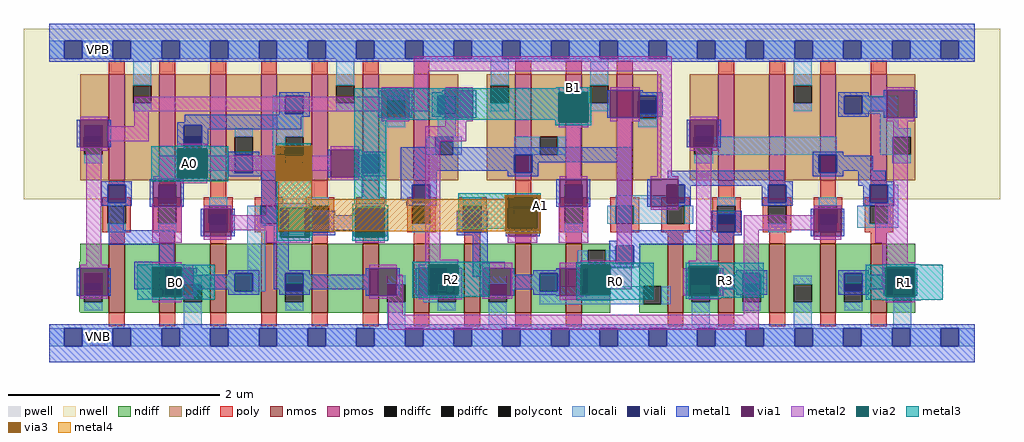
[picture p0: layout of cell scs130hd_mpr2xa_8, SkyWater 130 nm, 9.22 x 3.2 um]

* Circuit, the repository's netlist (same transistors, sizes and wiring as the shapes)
* NGSPICE file created from scs130hd_mpr2xa_8.ext - technology: sky130A

.subckt scs130hd_mpr2xa_8 VPB VNB R0 R1 R2 R3 B1 B0 A0 vgnd vpwr A1
X0 R0 a_56_48# vpwr VPB sky130_fd_pr__pfet_01v8 ad=0.27 pd=2.54 as=0.165 ps=1.33 w=1 l=0.15
X1 a_1294_296# a_676_198# R3 VPB sky130_fd_pr__pfet_01v8 ad=0.165 pd=1.33 as=0.27 ps=2.54 w=1 l=0.15
X2 vpwr a_56_48# a_1294_296# VPB sky130_fd_pr__pfet_01v8 ad=0.165 pd=1.33 as=0.165 ps=1.33 w=1 l=0.15
X3 a_1486_296# a_334_296# vpwr VPB sky130_fd_pr__pfet_01v8 ad=0.165 pd=1.33 as=0.165 ps=1.33 w=1 l=0.15
X4 R1 R3 a_1486_296# VPB sky130_fd_pr__pfet_01v8 ad=0.27 pd=2.54 as=0.165 ps=1.33 w=1 l=0.15
X5 R2 a_676_198# vgnd VNB sky130_fd_pr__nfet_01v8 ad=0.10725 pd=0.98 as=0.10725 ps=0.98 w=0.65 l=0.15
X6 vgnd a_56_48# R3 VNB sky130_fd_pr__nfet_01v8 ad=0.10725 pd=0.98 as=0.10725 ps=0.98 w=0.65 l=0.15
X7 vpwr B0 a_56_48# VPB sky130_fd_pr__pfet_01v8 ad=0.165 pd=1.33 as=0.27 ps=2.54 w=1 l=0.15
X8 a_334_296# A1 a_238_296# VPB sky130_fd_pr__pfet_01v8 ad=0.165 pd=1.33 as=0.165 ps=1.33 w=1 l=0.15
X9 a_238_296# B0 a_334_296# VPB sky130_fd_pr__pfet_01v8 ad=0.165 pd=1.33 as=0.165 ps=1.33 w=1 l=0.15
X10 a_676_198# B1 a_910_46# VNB sky130_fd_pr__nfet_01v8 ad=0.1755 pd=1.84 as=0.10725 ps=0.98 w=0.65 l=0.15
X11 R3 a_676_198# vgnd VNB sky130_fd_pr__nfet_01v8 ad=0.10725 pd=0.98 as=0.10725 ps=0.98 w=0.65 l=0.15
X12 a_238_296# A0 vpwr VPB sky130_fd_pr__pfet_01v8 ad=0.165 pd=1.33 as=0.165 ps=1.33 w=1 l=0.15
X13 a_142_46# B0 a_56_48# VNB sky130_fd_pr__nfet_01v8 ad=0.10725 pd=0.98 as=0.1802 ps=1.86 w=0.65 l=0.15
X14 vgnd a_56_48# R0 VNB sky130_fd_pr__nfet_01v8 ad=0.10725 pd=0.98 as=0.1755 ps=1.84 w=0.65 l=0.15
X15 vgnd R3 R1 VNB sky130_fd_pr__nfet_01v8 ad=0.1755 pd=1.84 as=0.10725 ps=0.98 w=0.65 l=0.15
X16 a_334_296# B0 a_334_46# VNB sky130_fd_pr__nfet_01v8 ad=0.10725 pd=0.98 as=0.10725 ps=0.98 w=0.65 l=0.15
X17 R1 a_334_296# vgnd VNB sky130_fd_pr__nfet_01v8 ad=0.10725 pd=0.98 as=0.10725 ps=0.98 w=0.65 l=0.15
X18 a_334_46# A1 vgnd VNB sky130_fd_pr__nfet_01v8 ad=0.10725 pd=0.98 as=0.10725 ps=0.98 w=0.65 l=0.15
X19 vgnd A0 a_142_46# VNB sky130_fd_pr__nfet_01v8 ad=0.10725 pd=0.98 as=0.10725 ps=0.98 w=0.65 l=0.15
X20 vgnd A0 a_526_46# VNB sky130_fd_pr__nfet_01v8 ad=0.10725 pd=0.98 as=0.10725 ps=0.98 w=0.65 l=0.15
X21 a_526_46# B1 a_334_296# VNB sky130_fd_pr__nfet_01v8 ad=0.10725 pd=0.98 as=0.10725 ps=0.98 w=0.65 l=0.15
X22 a_910_46# A1 vgnd VNB sky130_fd_pr__nfet_01v8 ad=0.10725 pd=0.98 as=0.10725 ps=0.98 w=0.65 l=0.15
X23 a_56_48# A0 vpwr VPB sky130_fd_pr__pfet_01v8 ad=0.165 pd=1.33 as=0.165 ps=1.33 w=1 l=0.15
X24 a_676_198# A1 vpwr VPB sky130_fd_pr__pfet_01v8 ad=0.165 pd=1.33 as=0.27 ps=2.54 w=1 l=0.15
X25 vgnd R0 R2 VNB sky130_fd_pr__nfet_01v8 ad=0.10725 pd=0.98 as=0.10725 ps=0.98 w=0.65 l=0.15
X26 vpwr B1 a_238_296# VPB sky130_fd_pr__pfet_01v8 ad=0.165 pd=1.33 as=0.165 ps=1.33 w=1 l=0.15
X27 R2 a_676_198# a_56_48# VPB sky130_fd_pr__pfet_01v8 ad=0.27 pd=2.54 as=0.165 ps=1.33 w=1 l=0.15
X28 vpwr B1 a_676_198# VPB sky130_fd_pr__pfet_01v8 ad=0.165 pd=1.33 as=0.165 ps=1.33 w=1 l=0.15
.ends

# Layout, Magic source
magic
tech sky130A
magscale 1 2
<< nwell >>
rect -48 260 1796 582
<< pwell >>
rect 76 -16 110 16
<< nmos >>
rect 112 46 142 176
rect 208 46 238 176
rect 304 46 334 176
rect 400 46 430 176
rect 496 46 526 176
rect 592 46 622 176
rect 688 46 718 176
rect 784 46 814 176
rect 880 46 910 176
rect 976 46 1006 176
rect 1168 46 1198 176
rect 1264 46 1294 176
rect 1360 46 1390 176
rect 1456 46 1486 176
rect 1552 46 1582 176
<< pmos >>
rect 112 296 142 496
rect 208 296 238 496
rect 304 296 334 496
rect 400 296 430 496
rect 496 296 526 496
rect 592 296 622 496
rect 688 296 718 496
rect 880 296 910 496
rect 976 296 1006 496
rect 1072 296 1102 496
rect 1264 296 1294 496
rect 1360 296 1390 496
rect 1456 296 1486 496
rect 1552 296 1582 496
<< ndiff >>
rect 58 142 112 176
rect 56 100 112 142
rect 56 66 66 100
rect 100 66 112 100
rect 56 48 112 66
rect 58 46 112 48
rect 142 46 208 176
rect 238 100 304 176
rect 238 66 254 100
rect 288 66 304 100
rect 238 46 304 66
rect 334 46 400 176
rect 430 100 496 176
rect 430 66 446 100
rect 480 66 496 100
rect 430 46 496 66
rect 526 46 592 176
rect 622 100 688 176
rect 622 66 638 100
rect 672 66 688 100
rect 622 46 688 66
rect 718 100 784 176
rect 718 66 734 100
rect 768 66 784 100
rect 718 46 784 66
rect 814 100 880 176
rect 814 66 830 100
rect 864 66 880 100
rect 814 46 880 66
rect 910 46 976 176
rect 1006 164 1060 176
rect 1006 130 1017 164
rect 1051 130 1060 164
rect 1006 46 1060 130
rect 1114 96 1168 176
rect 1114 62 1122 96
rect 1156 62 1168 96
rect 1114 46 1168 62
rect 1198 100 1264 176
rect 1198 66 1214 100
rect 1248 66 1264 100
rect 1198 46 1264 66
rect 1294 100 1360 176
rect 1294 66 1310 100
rect 1344 66 1360 100
rect 1294 46 1360 66
rect 1390 100 1456 176
rect 1390 66 1406 100
rect 1440 66 1456 100
rect 1390 46 1456 66
rect 1486 100 1552 176
rect 1486 66 1502 100
rect 1536 66 1552 100
rect 1486 46 1552 66
rect 1582 100 1636 176
rect 1582 66 1594 100
rect 1628 66 1636 100
rect 1582 46 1636 66
<< pdiff >>
rect 58 378 112 496
rect 58 344 66 378
rect 100 344 112 378
rect 58 296 112 344
rect 142 476 208 496
rect 142 442 158 476
rect 192 442 208 476
rect 142 296 208 442
rect 238 378 304 496
rect 238 344 254 378
rect 288 344 304 378
rect 238 296 304 344
rect 334 378 400 496
rect 334 344 350 378
rect 384 344 400 378
rect 334 296 400 344
rect 430 378 496 496
rect 430 344 446 378
rect 480 344 496 378
rect 430 296 496 344
rect 526 476 592 496
rect 526 442 542 476
rect 576 442 592 476
rect 526 296 592 442
rect 622 446 688 496
rect 622 412 638 446
rect 672 412 688 446
rect 622 296 688 412
rect 718 378 772 496
rect 718 344 729 378
rect 763 344 772 378
rect 718 296 772 344
rect 826 476 880 496
rect 826 442 834 476
rect 868 442 880 476
rect 826 296 880 442
rect 910 378 976 496
rect 910 344 926 378
rect 960 344 976 378
rect 910 296 976 344
rect 1006 476 1072 496
rect 1006 442 1022 476
rect 1056 442 1072 476
rect 1006 296 1072 442
rect 1102 446 1156 496
rect 1102 412 1113 446
rect 1147 412 1156 446
rect 1102 296 1156 412
rect 1210 378 1264 496
rect 1210 344 1218 378
rect 1252 344 1264 378
rect 1210 296 1264 344
rect 1294 296 1360 496
rect 1390 476 1456 496
rect 1390 442 1406 476
rect 1440 442 1456 476
rect 1390 296 1456 442
rect 1486 296 1552 496
rect 1582 378 1636 496
rect 1582 344 1593 378
rect 1627 344 1636 378
rect 1582 296 1636 344
<< ndiffc >>
rect 66 66 100 100
rect 254 66 288 100
rect 446 66 480 100
rect 638 66 672 100
rect 734 66 768 100
rect 830 66 864 100
rect 1017 130 1051 164
rect 1122 62 1156 96
rect 1214 66 1248 100
rect 1310 66 1344 100
rect 1406 66 1440 100
rect 1502 66 1536 100
rect 1594 66 1628 100
<< pdiffc >>
rect 66 344 100 378
rect 158 442 192 476
rect 254 344 288 378
rect 350 344 384 378
rect 446 344 480 378
rect 542 442 576 476
rect 638 412 672 446
rect 729 344 763 378
rect 834 442 868 476
rect 926 344 960 378
rect 1022 442 1056 476
rect 1113 412 1147 446
rect 1218 344 1252 378
rect 1406 442 1440 476
rect 1593 344 1627 378
<< poly >>
rect 112 496 142 522
rect 208 496 238 522
rect 304 496 334 522
rect 400 496 430 522
rect 496 496 526 522
rect 592 496 622 522
rect 688 496 718 522
rect 880 496 910 522
rect 976 496 1006 522
rect 1072 496 1102 522
rect 1264 496 1294 522
rect 1360 496 1390 522
rect 1456 496 1486 522
rect 1552 496 1582 522
rect 112 264 142 296
rect 208 264 238 296
rect 304 264 334 296
rect 400 264 430 296
rect 496 264 526 296
rect 592 264 622 296
rect 688 264 718 296
rect 880 264 910 296
rect 976 264 1006 296
rect 1072 264 1102 296
rect 1264 264 1294 296
rect 1360 264 1390 296
rect 1456 264 1486 296
rect 1552 264 1582 296
rect 100 248 154 264
rect 100 214 110 248
rect 144 214 154 248
rect 100 198 154 214
rect 196 248 250 264
rect 196 214 206 248
rect 240 214 250 248
rect 196 198 250 214
rect 292 248 346 264
rect 292 214 302 248
rect 336 214 346 248
rect 292 198 346 214
rect 388 248 442 264
rect 388 214 398 248
rect 432 214 442 248
rect 388 198 442 214
rect 484 248 538 264
rect 484 214 494 248
rect 528 214 538 248
rect 484 198 538 214
rect 580 248 634 264
rect 580 214 590 248
rect 624 214 634 248
rect 580 198 634 214
rect 676 248 730 264
rect 676 214 686 248
rect 720 214 730 248
rect 676 198 730 214
rect 772 248 826 264
rect 772 214 782 248
rect 816 214 826 248
rect 772 198 826 214
rect 868 248 922 264
rect 868 214 878 248
rect 912 214 922 248
rect 868 198 922 214
rect 964 248 1018 264
rect 964 214 974 248
rect 1008 214 1018 248
rect 964 198 1018 214
rect 1060 248 1114 264
rect 1060 214 1070 248
rect 1104 214 1114 248
rect 1060 198 1114 214
rect 1156 248 1210 264
rect 1156 214 1166 248
rect 1200 214 1210 248
rect 1156 198 1210 214
rect 1252 248 1306 264
rect 1252 214 1262 248
rect 1296 214 1306 248
rect 1252 198 1306 214
rect 1348 248 1402 264
rect 1348 214 1358 248
rect 1392 214 1402 248
rect 1348 198 1402 214
rect 1444 248 1498 264
rect 1444 214 1454 248
rect 1488 214 1498 248
rect 1444 198 1498 214
rect 1540 248 1594 264
rect 1540 214 1550 248
rect 1584 214 1594 248
rect 1540 198 1594 214
rect 112 176 142 198
rect 208 176 238 198
rect 304 176 334 198
rect 400 176 430 198
rect 496 176 526 198
rect 592 176 622 198
rect 688 176 718 198
rect 784 176 814 198
rect 880 176 910 198
rect 976 176 1006 198
rect 1168 176 1198 198
rect 1264 176 1294 198
rect 1360 176 1390 198
rect 1456 176 1486 198
rect 1552 176 1582 198
rect 112 20 142 46
rect 208 20 238 46
rect 304 20 334 46
rect 400 20 430 46
rect 496 20 526 46
rect 592 20 622 46
rect 688 20 718 46
rect 784 20 814 46
rect 880 20 910 46
rect 976 20 1006 46
rect 1168 20 1198 46
rect 1264 20 1294 46
rect 1360 20 1390 46
rect 1456 20 1486 46
rect 1552 20 1582 46
<< polycont >>
rect 110 214 144 248
rect 206 214 240 248
rect 302 214 336 248
rect 398 214 432 248
rect 494 214 528 248
rect 590 214 624 248
rect 686 214 720 248
rect 782 214 816 248
rect 878 214 912 248
rect 974 214 1008 248
rect 1070 214 1104 248
rect 1166 214 1200 248
rect 1262 214 1296 248
rect 1358 214 1392 248
rect 1454 214 1488 248
rect 1550 214 1584 248
<< locali >>
rect 0 526 28 560
rect 62 526 120 560
rect 154 526 212 560
rect 246 526 304 560
rect 338 526 396 560
rect 430 526 488 560
rect 522 526 580 560
rect 614 526 672 560
rect 706 526 764 560
rect 798 526 856 560
rect 890 526 948 560
rect 982 526 1040 560
rect 1074 526 1132 560
rect 1166 526 1224 560
rect 1258 526 1316 560
rect 1350 526 1408 560
rect 1442 526 1500 560
rect 1534 526 1592 560
rect 1626 526 1684 560
rect 1718 526 1748 560
rect 158 476 192 526
rect 542 476 576 526
rect 158 426 192 442
rect 422 422 446 456
rect 834 476 868 526
rect 542 426 576 442
rect 638 456 672 462
rect 66 328 100 344
rect 254 328 288 344
rect 350 378 384 394
rect 422 378 480 422
rect 638 396 672 412
rect 834 426 868 442
rect 1022 476 1056 526
rect 1406 476 1440 526
rect 1022 426 1056 442
rect 1113 456 1148 462
rect 734 378 768 422
rect 1147 412 1148 456
rect 1406 426 1440 442
rect 1536 422 1604 456
rect 1113 396 1148 412
rect 1218 378 1220 400
rect 1570 394 1604 422
rect 1570 378 1627 394
rect 422 344 446 378
rect 712 344 729 378
rect 763 344 779 378
rect 878 344 926 378
rect 960 344 976 378
rect 1254 366 1488 378
rect 1252 344 1488 366
rect 1570 344 1593 378
rect 446 328 480 344
rect 1218 328 1254 344
rect 1592 328 1627 344
rect 110 248 144 254
rect 110 198 144 214
rect 206 248 240 254
rect 206 198 240 214
rect 302 248 336 264
rect 494 248 528 264
rect 374 214 398 248
rect 432 214 448 248
rect 374 120 408 214
rect 590 248 624 310
rect 590 198 624 214
rect 686 248 720 254
rect 686 198 720 214
rect 782 248 816 264
rect 878 248 912 264
rect 974 248 1008 254
rect 1070 254 1166 268
rect 1070 248 1200 254
rect 1262 248 1296 264
rect 1054 214 1070 248
rect 1104 214 1166 248
rect 1200 214 1216 248
rect 974 198 1008 214
rect 1358 248 1392 254
rect 1358 198 1392 214
rect 1454 248 1488 264
rect 1584 254 1604 288
rect 1550 248 1604 254
rect 1526 214 1550 248
rect 1584 214 1604 248
rect 1526 206 1604 214
rect 998 130 1017 164
rect 1051 138 1070 164
rect 1051 130 1104 138
rect 66 50 100 66
rect 254 100 288 116
rect 384 86 408 120
rect 254 16 288 66
rect 446 50 480 66
rect 638 100 672 116
rect 706 86 726 110
rect 760 100 768 116
rect 706 66 734 86
rect 638 16 672 66
rect 734 50 768 66
rect 830 100 864 116
rect 830 16 864 66
rect 1214 100 1248 116
rect 960 86 1122 96
rect 926 62 1122 86
rect 1156 62 1174 96
rect 1214 16 1248 66
rect 1310 50 1344 66
rect 1406 100 1440 116
rect 1406 16 1440 66
rect 1502 50 1536 66
rect 1594 100 1628 116
rect 1594 16 1628 66
rect 0 -18 28 16
rect 62 -18 120 16
rect 154 -18 212 16
rect 246 -18 304 16
rect 338 -18 396 16
rect 430 -18 488 16
rect 522 -18 580 16
rect 614 -18 672 16
rect 706 -18 764 16
rect 798 -18 856 16
rect 890 -18 948 16
rect 982 -18 1040 16
rect 1074 -18 1132 16
rect 1166 -18 1224 16
rect 1258 -18 1316 16
rect 1350 -18 1408 16
rect 1442 -18 1500 16
rect 1534 -18 1592 16
rect 1626 -18 1684 16
rect 1718 -18 1748 16
<< viali >>
rect 28 526 62 560
rect 120 526 154 560
rect 212 526 246 560
rect 304 526 338 560
rect 396 526 430 560
rect 488 526 522 560
rect 580 526 614 560
rect 672 526 706 560
rect 764 526 798 560
rect 856 526 890 560
rect 948 526 982 560
rect 1040 526 1074 560
rect 1132 526 1166 560
rect 1224 526 1258 560
rect 1316 526 1350 560
rect 1408 526 1442 560
rect 1500 526 1534 560
rect 1592 526 1626 560
rect 1684 526 1718 560
rect 446 422 480 456
rect 638 446 672 456
rect 66 378 100 400
rect 66 366 100 378
rect 254 378 288 400
rect 254 366 288 378
rect 638 422 672 446
rect 734 422 768 456
rect 1113 446 1147 456
rect 1113 422 1147 446
rect 1502 422 1536 456
rect 1220 378 1254 400
rect 1220 366 1252 378
rect 1252 366 1254 378
rect 350 310 384 344
rect 590 310 624 344
rect 878 310 912 344
rect 1454 310 1488 344
rect 110 254 144 288
rect 206 254 240 288
rect 302 214 336 232
rect 302 198 336 214
rect 494 214 528 232
rect 494 198 528 214
rect 686 254 720 288
rect 782 214 816 232
rect 782 198 816 214
rect 878 214 912 232
rect 878 198 912 214
rect 974 254 1008 288
rect 1166 254 1200 288
rect 1262 214 1296 232
rect 1262 198 1296 214
rect 1358 254 1392 288
rect 1550 254 1584 288
rect 1454 214 1488 232
rect 1454 198 1488 214
rect 1070 138 1104 172
rect 66 100 100 120
rect 66 86 100 100
rect 350 86 384 120
rect 446 100 480 120
rect 446 86 480 100
rect 726 100 760 120
rect 726 86 734 100
rect 734 86 760 100
rect 926 86 960 120
rect 1310 100 1344 120
rect 1310 86 1344 100
rect 1502 100 1536 120
rect 1502 86 1536 100
rect 28 -18 62 16
rect 120 -18 154 16
rect 212 -18 246 16
rect 304 -18 338 16
rect 396 -18 430 16
rect 488 -18 522 16
rect 580 -18 614 16
rect 672 -18 706 16
rect 764 -18 798 16
rect 856 -18 890 16
rect 948 -18 982 16
rect 1040 -18 1074 16
rect 1132 -18 1166 16
rect 1224 -18 1258 16
rect 1316 -18 1350 16
rect 1408 -18 1442 16
rect 1500 -18 1534 16
rect 1592 -18 1626 16
rect 1684 -18 1718 16
<< metal1 >>
rect 0 560 1748 592
rect 0 526 28 560
rect 62 526 120 560
rect 154 526 212 560
rect 246 526 304 560
rect 338 526 396 560
rect 430 526 488 560
rect 522 526 580 560
rect 614 526 672 560
rect 706 526 764 560
rect 798 526 856 560
rect 890 526 948 560
rect 982 526 1040 560
rect 1074 526 1132 560
rect 1166 526 1224 560
rect 1258 526 1316 560
rect 1350 526 1408 560
rect 1442 526 1500 560
rect 1534 526 1592 560
rect 1626 526 1684 560
rect 1718 526 1748 560
rect 0 520 1748 526
rect 434 456 492 462
rect 434 422 446 456
rect 480 422 492 456
rect 434 420 492 422
rect 256 416 492 420
rect 52 358 58 410
rect 110 358 116 410
rect 256 406 476 416
rect 622 414 628 466
rect 680 414 686 466
rect 742 462 748 466
rect 722 456 748 462
rect 722 422 734 456
rect 722 416 748 422
rect 742 414 748 416
rect 800 414 806 466
rect 1054 414 1060 466
rect 1115 462 1121 466
rect 1115 456 1159 462
rect 1147 422 1159 456
rect 1115 416 1159 422
rect 1490 456 1548 462
rect 1490 422 1502 456
rect 1536 454 1548 456
rect 1576 454 1582 466
rect 1536 426 1582 454
rect 1536 422 1548 426
rect 1490 416 1548 422
rect 1115 414 1121 416
rect 1576 414 1582 426
rect 1634 414 1640 466
rect 242 400 476 406
rect 242 366 254 400
rect 288 392 476 400
rect 288 366 300 392
rect 242 360 300 366
rect 728 358 762 378
rect 1204 358 1210 410
rect 1262 358 1268 410
rect 338 344 396 350
rect 338 310 350 344
rect 384 342 396 344
rect 384 310 428 342
rect 338 304 428 310
rect 98 288 156 294
rect 98 254 110 288
rect 144 254 156 288
rect 98 248 156 254
rect 112 202 140 248
rect 190 246 196 298
rect 248 246 254 298
rect 112 174 236 202
rect 286 190 292 242
rect 344 190 350 242
rect 400 238 428 304
rect 526 302 532 354
rect 584 350 590 354
rect 584 344 636 350
rect 584 310 590 344
rect 624 310 636 344
rect 584 304 636 310
rect 664 344 1100 358
rect 664 314 878 344
rect 584 302 590 304
rect 664 288 732 314
rect 866 310 878 314
rect 912 330 1100 344
rect 912 310 924 330
rect 866 304 924 310
rect 664 258 686 288
rect 674 254 686 258
rect 720 254 732 288
rect 674 248 732 254
rect 958 246 964 298
rect 1016 246 1022 298
rect 400 210 452 238
rect 208 142 236 174
rect 160 130 236 142
rect 52 78 58 130
rect 110 78 116 130
rect 160 90 220 130
rect 214 78 220 90
rect 272 118 278 130
rect 424 126 452 210
rect 482 232 540 238
rect 482 198 494 232
rect 528 230 540 232
rect 574 230 580 242
rect 528 202 580 230
rect 528 198 540 202
rect 482 192 540 198
rect 574 190 580 202
rect 632 190 638 242
rect 770 232 828 238
rect 770 198 782 232
rect 816 198 828 232
rect 770 192 828 198
rect 800 142 828 192
rect 862 190 868 242
rect 920 190 926 242
rect 1072 202 1100 330
rect 1442 344 1500 350
rect 1168 298 1388 314
rect 1442 310 1454 344
rect 1488 342 1500 344
rect 1488 314 1556 342
rect 1488 310 1500 314
rect 1442 304 1500 310
rect 1130 246 1136 298
rect 1188 294 1388 298
rect 1528 294 1580 314
rect 1188 288 1404 294
rect 1200 286 1358 288
rect 1200 254 1212 286
rect 1188 248 1212 254
rect 1346 254 1358 286
rect 1392 254 1404 288
rect 1528 288 1596 294
rect 1528 286 1550 288
rect 1346 248 1404 254
rect 1538 254 1550 286
rect 1584 254 1596 288
rect 1538 248 1596 254
rect 1188 246 1194 248
rect 1250 232 1308 238
rect 1250 202 1262 232
rect 1072 198 1262 202
rect 1296 198 1308 232
rect 1072 192 1308 198
rect 1072 182 1292 192
rect 1438 190 1444 242
rect 1496 190 1502 242
rect 1058 174 1292 182
rect 1058 172 1116 174
rect 800 130 860 142
rect 1058 138 1070 172
rect 1104 138 1116 172
rect 1058 132 1116 138
rect 338 120 396 126
rect 338 118 350 120
rect 272 90 350 118
rect 272 78 278 90
rect 338 86 350 90
rect 384 86 396 120
rect 424 120 492 126
rect 424 90 446 120
rect 338 80 396 86
rect 434 86 446 90
rect 480 118 492 120
rect 598 118 604 130
rect 480 90 604 118
rect 480 86 492 90
rect 434 80 492 86
rect 598 78 604 90
rect 656 78 662 130
rect 692 78 698 130
rect 750 120 772 130
rect 760 86 772 120
rect 800 114 820 130
rect 750 78 772 86
rect 814 78 820 114
rect 872 118 878 130
rect 958 126 964 130
rect 914 120 964 126
rect 914 118 926 120
rect 872 90 926 118
rect 872 78 878 90
rect 914 86 926 90
rect 960 86 964 120
rect 914 80 964 86
rect 958 78 964 80
rect 1016 78 1022 130
rect 1204 78 1210 130
rect 1262 118 1268 130
rect 1298 120 1356 126
rect 1298 118 1310 120
rect 1262 90 1310 118
rect 1262 78 1268 90
rect 1298 86 1310 90
rect 1344 86 1356 120
rect 1298 80 1356 86
rect 1490 120 1548 126
rect 1490 86 1502 120
rect 1536 118 1548 120
rect 1576 118 1582 130
rect 1536 90 1582 118
rect 1536 86 1548 90
rect 1490 80 1548 86
rect 1576 78 1582 90
rect 1634 78 1640 130
rect 0 16 1748 24
rect 0 -18 28 16
rect 62 -18 120 16
rect 154 -18 212 16
rect 246 -18 304 16
rect 338 -18 396 16
rect 430 -18 488 16
rect 522 -18 580 16
rect 614 -18 672 16
rect 706 -18 764 16
rect 798 -18 856 16
rect 890 -18 948 16
rect 982 -18 1040 16
rect 1074 -18 1132 16
rect 1166 -18 1224 16
rect 1258 -18 1316 16
rect 1350 -18 1408 16
rect 1442 -18 1500 16
rect 1534 -18 1592 16
rect 1626 -18 1684 16
rect 1718 -18 1748 16
rect 0 -48 1748 -18
<< via1 >>
rect 58 400 110 410
rect 58 366 66 400
rect 66 366 100 400
rect 100 366 110 400
rect 58 358 110 366
rect 628 456 680 466
rect 628 422 638 456
rect 638 422 672 456
rect 672 422 680 456
rect 628 414 680 422
rect 748 456 800 466
rect 748 422 768 456
rect 768 422 800 456
rect 748 414 800 422
rect 1060 456 1115 466
rect 1060 422 1113 456
rect 1113 422 1115 456
rect 1060 414 1115 422
rect 1582 414 1634 466
rect 1210 400 1262 410
rect 1210 366 1220 400
rect 1220 366 1254 400
rect 1254 366 1262 400
rect 1210 358 1262 366
rect 196 288 248 298
rect 196 254 206 288
rect 206 254 240 288
rect 240 254 248 288
rect 196 246 248 254
rect 292 232 344 242
rect 292 198 302 232
rect 302 198 336 232
rect 336 198 344 232
rect 292 190 344 198
rect 532 302 584 354
rect 964 288 1016 298
rect 964 254 974 288
rect 974 254 1008 288
rect 1008 254 1016 288
rect 964 246 1016 254
rect 58 120 110 130
rect 58 86 66 120
rect 66 86 100 120
rect 100 86 110 120
rect 58 78 110 86
rect 220 78 272 130
rect 580 190 632 242
rect 868 232 920 242
rect 868 198 878 232
rect 878 198 912 232
rect 912 198 920 232
rect 868 190 920 198
rect 1136 288 1188 298
rect 1136 254 1166 288
rect 1166 254 1188 288
rect 1136 246 1188 254
rect 1444 232 1496 242
rect 1444 198 1454 232
rect 1454 198 1488 232
rect 1488 198 1496 232
rect 1444 190 1496 198
rect 604 78 656 130
rect 698 120 750 130
rect 698 86 726 120
rect 726 86 750 120
rect 698 78 750 86
rect 820 78 872 130
rect 964 78 1016 130
rect 1210 78 1262 130
rect 1582 78 1634 130
<< metal2 >>
rect 688 502 1176 530
rect 688 472 716 502
rect 628 466 716 472
rect 160 426 628 454
rect 58 410 110 416
rect 160 398 188 426
rect 680 426 716 466
rect 748 466 800 472
rect 628 408 680 414
rect 748 408 800 414
rect 962 462 1018 472
rect 748 398 788 408
rect 110 370 188 398
rect 710 370 788 398
rect 1060 466 1115 472
rect 1060 408 1115 414
rect 962 396 1018 406
rect 58 352 110 358
rect 242 356 298 365
rect 70 136 98 352
rect 208 304 242 342
rect 196 300 242 304
rect 532 354 584 360
rect 298 314 532 342
rect 196 298 298 300
rect 194 246 196 252
rect 248 290 298 298
rect 532 296 584 302
rect 431 252 492 253
rect 248 246 250 252
rect 194 178 250 246
rect 292 242 344 248
rect 410 244 492 252
rect 410 230 436 244
rect 344 202 436 230
rect 292 184 344 190
rect 410 188 436 202
rect 410 178 492 188
rect 578 244 634 253
rect 578 178 634 188
rect 710 146 738 370
rect 976 304 1004 396
rect 964 298 1016 304
rect 866 262 922 272
rect 866 190 868 206
rect 920 190 922 206
rect 866 178 922 190
rect 962 246 964 252
rect 1016 246 1018 252
rect 962 178 1018 246
rect 194 136 250 141
rect 710 136 772 146
rect 1072 144 1100 408
rect 1148 304 1176 502
rect 1582 466 1634 472
rect 1210 410 1262 416
rect 1582 408 1634 414
rect 1210 352 1262 358
rect 1136 298 1188 304
rect 1136 240 1188 246
rect 1222 144 1250 352
rect 1594 252 1622 408
rect 1444 242 1496 248
rect 1312 202 1444 230
rect 1004 140 1100 144
rect 58 130 110 136
rect 58 72 110 78
rect 194 132 272 136
rect 250 130 272 132
rect 250 76 272 78
rect 194 72 272 76
rect 604 130 656 136
rect 698 130 716 136
rect 818 130 874 140
rect 656 78 668 118
rect 604 72 668 78
rect 194 66 250 72
rect 640 42 668 72
rect 772 80 780 130
rect 750 78 780 80
rect 698 71 780 78
rect 818 78 820 130
rect 872 78 874 130
rect 818 72 874 78
rect 964 136 1100 140
rect 964 130 1004 136
rect 1060 90 1100 136
rect 1208 134 1264 144
rect 1016 78 1060 80
rect 1198 78 1208 130
rect 1264 78 1273 130
rect 964 70 1060 78
rect 1208 70 1264 78
rect 1312 42 1340 202
rect 1444 184 1496 190
rect 1560 178 1622 252
rect 1574 141 1622 178
rect 1574 132 1636 141
rect 1574 90 1580 132
rect 1580 66 1636 76
rect 640 14 1340 42
<< via2 >>
rect 962 406 1018 462
rect 242 300 298 356
rect 436 188 492 244
rect 578 242 634 244
rect 578 190 580 242
rect 580 190 632 242
rect 632 190 634 242
rect 578 188 634 190
rect 866 242 922 262
rect 866 206 868 242
rect 868 206 920 242
rect 920 206 922 242
rect 194 130 250 132
rect 194 78 220 130
rect 220 78 250 130
rect 194 76 250 78
rect 716 130 772 136
rect 716 80 750 130
rect 750 80 772 130
rect 1004 130 1060 136
rect 1004 80 1016 130
rect 1016 80 1060 130
rect 1208 130 1264 134
rect 1208 78 1210 130
rect 1210 78 1262 130
rect 1262 78 1264 130
rect 1580 130 1636 132
rect 1580 78 1582 130
rect 1582 78 1634 130
rect 1634 78 1636 130
rect 1580 76 1636 78
<< metal3 >>
rect 958 470 1024 472
rect 576 462 1024 470
rect 576 410 962 462
rect 238 360 301 361
rect 430 360 494 366
rect 192 356 338 360
rect 192 300 242 356
rect 298 300 338 356
rect 192 294 338 300
rect 430 290 494 296
rect 430 252 496 290
rect 576 252 636 410
rect 956 406 962 410
rect 1018 406 1024 462
rect 956 400 1024 406
rect 430 244 497 252
rect 430 188 436 244
rect 492 188 497 244
rect 430 182 497 188
rect 572 249 636 252
rect 772 266 928 272
rect 572 244 640 249
rect 572 188 578 244
rect 634 188 640 244
rect 772 204 862 266
rect 860 202 862 204
rect 926 202 928 266
rect 862 196 928 202
rect 572 182 640 188
rect 186 136 257 137
rect 686 136 832 142
rect 166 132 312 136
rect 166 76 194 132
rect 250 76 312 132
rect 166 70 312 76
rect 686 80 716 136
rect 772 80 832 136
rect 686 76 832 80
rect 995 140 1065 141
rect 995 136 1142 140
rect 995 80 1004 136
rect 1060 80 1142 136
rect 686 74 782 76
rect 995 70 1142 80
rect 1202 134 1350 140
rect 1574 136 1646 137
rect 1202 78 1208 134
rect 1264 78 1350 134
rect 1202 74 1350 78
rect 1542 132 1688 136
rect 1542 76 1580 132
rect 1636 76 1688 132
rect 1202 72 1268 74
rect 1542 70 1688 76
rect 995 69 1065 70
rect 1574 69 1646 70
<< via3 >>
rect 430 296 494 360
rect 862 262 926 266
rect 862 206 866 262
rect 866 206 922 262
rect 922 206 926 262
rect 862 202 926 206
<< metal4 >>
rect 428 360 496 361
rect 428 296 430 360
rect 494 296 496 360
rect 428 294 496 296
rect 432 260 496 294
rect 860 266 928 268
rect 860 260 862 266
rect 432 202 862 260
rect 926 202 928 266
rect 432 200 928 202
rect 862 196 928 200
<< labels >>
flabel nwell s 76 526 110 560 0 FreeSans 100 0 0 0 VPB
port 1 nsew
flabel pwell s 76 -16 110 16 0 FreeSans 100 0 0 0 VNB
port 2 nsew
flabel comment s 0 0 0 0 0 FreeSans 100 0 0 0 scs130hd_mpr2xa_8
rlabel metal3 s 996 70 1142 140 4 R0
port 3 nsew
rlabel metal3 s 1542 70 1688 136 4 R1
port 4 nsew
rlabel metal3 s 686 76 832 142 4 R2
port 5 nsew
rlabel metal3 s 1204 74 1350 140 4 R3
port 6 nsew
rlabel metal3 s 958 470 1024 472 4 B1
port 7 nsew
rlabel metal3 s 166 70 312 136 4 B0
port 8 nsew
rlabel metal3 s 192 294 338 360 4 A0
port 9 nsew
flabel metal1 s 30 -16 64 16 0 FreeSans 100 0 0 0 vgnd
port 10 nsew
flabel metal1 s 30 526 64 560 0 FreeSans 100 0 0 0 vpwr
port 11 nsew
rlabel metal4 s 928 248 928 248 4 A1
port 12 nsew
<< properties >>
string FIXED_BBOX 0 0 1748 544
<< end >>
